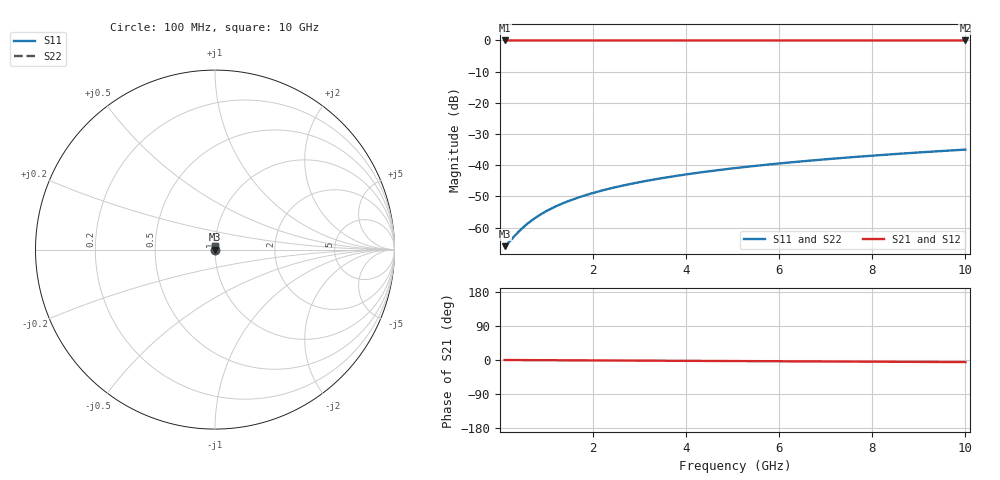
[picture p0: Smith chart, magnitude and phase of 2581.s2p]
# Hz S RI R 50.00
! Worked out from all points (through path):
!   100 points, 100 MHz to 10 GHz, reference 50 ohm
!   highest |S21| = 0.00 dB at 100 MHz (marker M1); lowest = 0.0 dB at 10 GHz (marker M2)
!   lowest |S11| = -66.0 dB at 100 MHz (marker M3), VSWR 1.00, Z = 50 + j0.0177 ohm
!   |S11| at or under -10 dB: start of sweep to end of sweep
!   |S22| runs from -66.0 to -35.0 dB; largest |S21 - S12| = 0
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1e8  0.000471 0.000177  0.9995 -0.000961  0.9995 -0.000961  0.000471 0.000177
2e8  0.000474 0.000354  0.9995 -0.00192  0.9995 -0.00192  0.000474 0.000354
4e8  0.00048 0.000708  0.9995 -0.00385  0.9995 -0.00385  0.00048 0.000708
5e8  0.000482 0.000885  0.9995 -0.00481  0.9995 -0.00481  0.000482 0.000885
6e8  0.000485 0.00106  0.9995 -0.00577  0.9995 -0.00577  0.000485 0.00106
7e8  0.000488 0.00124  0.9995 -0.00673  0.9995 -0.00673  0.000488 0.00124
8e8  0.000492 0.00142  0.9995 -0.00769  0.9995 -0.00769  0.000492 0.00142
1e9  0.000499 0.00177  0.9995 -0.00962  0.9995 -0.00962  0.000499 0.00177
1.2e9  0.000508 0.00212  0.9994 -0.0115  0.9994 -0.0115  0.000508 0.00212
1.5e9  0.000523 0.00266  0.9994 -0.0144  0.9994 -0.0144  0.000523 0.00266
1.8e9  0.000542 0.00319  0.9993 -0.0173  0.9993 -0.0173  0.000542 0.00319
2.1e9  0.000563 0.00372  0.9993 -0.0202  0.9993 -0.0202  0.000563 0.00372
2.5e9  0.000595 0.00442  0.9992 -0.0241  0.9992 -0.0241  0.000595 0.00442
2.9e9  0.000633 0.00513  0.9991 -0.0279  0.9991 -0.0279  0.000633 0.00513
3.4e9  0.000688 0.00601  0.9989 -0.0327  0.9989 -0.0327  0.000688 0.00601
4.2e9  0.000793 0.00742  0.9986 -0.0404  0.9986 -0.0404  0.000793 0.00742
5.1e9  0.000938 0.00901  0.9982 -0.0491  0.9982 -0.0491  0.000938 0.00901
5.9e9  0.00109 0.0104  0.9978 -0.0568  0.9978 -0.0568  0.00109 0.0104
6.7e9  0.00126 0.0118  0.9973 -0.0646  0.9973 -0.0646  0.00126 0.0118
7.5e9  0.00146 0.0132  0.9967 -0.0723  0.9967 -0.0723  0.00146 0.0132
8.4e9  0.00171 0.0148  0.996 -0.081  0.996 -0.081  0.00171 0.0148
1e10  0.00222 0.0176  0.9946 -0.0965  0.9946 -0.0965  0.00222 0.0176
